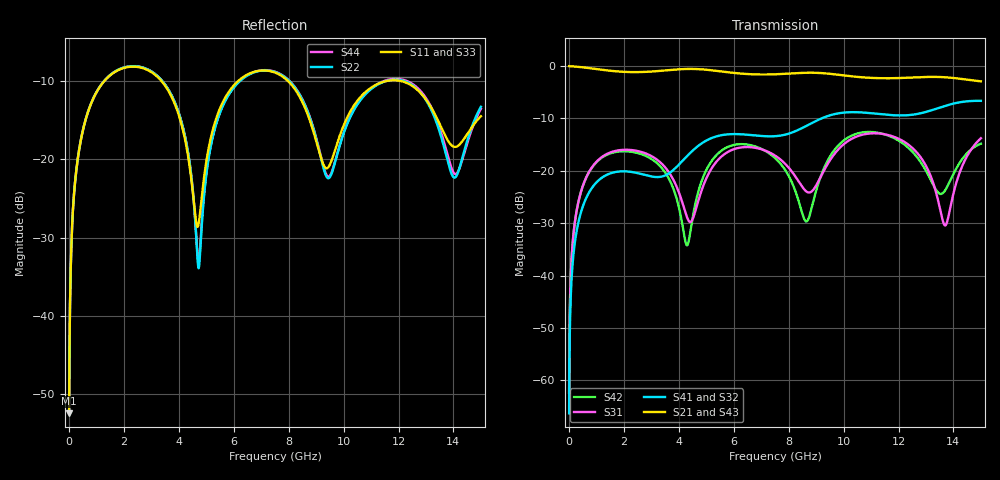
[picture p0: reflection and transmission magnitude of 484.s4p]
! Created with skrf 1.8.0 (http://scikit-rf.org).
# GHz S RI R 50.0
!freq ReS11 ImS11 ReS12 ImS12 ReS13 ImS13
! ReS14 ImS14
! ReS21 ImS21 ReS22 ImS22 ReS23 ImS23
! ReS24 ImS24
! ReS31 ImS31 ReS32 ImS32 ReS33 ImS33
! ReS34 ImS34
! ReS41 ImS41 ReS42 ImS42 ReS43 ImS43
! ReS44 ImS44
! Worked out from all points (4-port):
!   2499 points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, 5 MHz to 15 GHz, reference 50 ohm
!   strongest paths, dB at 5 MHz, 3.476 GHz, 7.19 GHz, 11.1 GHz, 15 GHz:
!     S21: 0.0, -0.8, -1.6, -2.3, -2.9
!     S43: 0.0, -0.8, -1.6, -2.3, -2.9
!     S41: -66.3, -20.9, -13.4, -9.0, -6.6
!     S32: -66.3, -21.0, -13.4, -9.1, -6.6
!     S31: -62.4, -19.2, -16.2, -12.8, -13.8
!     S42: -62.4, -20.1, -16.3, -12.6, -14.8
!   lowest |S11| = -52.4 dB at 5 MHz (marker M1), VSWR 1.00, Z = 50.2 + j0.145 ohm
!   |S11| at or under -10 dB: 3.373 GHz to 6.154 GHz (2.781 GHz wide, 58.4 % of centre); 7.981 GHz to 11.53 GHz (3.553 GHz wide, 36.4 % of centre); 12.11 GHz to end of sweep (the widest 3 of 4)
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0.005  0.00191 0.00145  0.9981 -0.00371  9.67e-05 0.000756  -9.38e-05 -0.000474
       0.9981 -0.00371  0.00191 0.00145  -9.38e-05 -0.000474  9.65e-05 0.000756
       9.67e-05 0.000756  -9.38e-05 -0.000474  0.00191 0.00145  0.9981 -0.00371
       -9.38e-05 -0.000474  9.65e-05 0.000756  0.9981 -0.00371  0.00191 0.00145
0.3126303  0.031 0.0939  0.9574 -0.2293  0.0149 0.0439  -0.0121 -0.027
           0.9574 -0.2293  0.0311 0.0939  -0.0121 -0.027  0.0141 0.0441
           0.0149 0.0439  -0.0121 -0.027  0.031 0.0939  0.9574 -0.2293
           -0.0121 -0.027  0.0141 0.0441  0.9574 -0.2293  0.0311 0.0939
1.369321  0.2777 0.1756  0.5306 -0.7394  0.1342 0.0532  -0.0913 -0.00319
          0.5306 -0.7394  0.2804 0.1738  -0.0912 -0.00325  0.1265 0.0641
          0.1342 0.0532  -0.0912 -0.00325  0.2777 0.1756  0.5306 -0.7394
          -0.0913 -0.00319  0.1265 0.0641  0.5306 -0.7394  0.2803 0.1738
4.551897  0.0393 -0.0347  -0.9246 -0.1622  -0.0295 0.0231  -0.0239 0.1582
          -0.9246 -0.1622  0.0235 -0.0467  -0.0251 0.1581  0.0219 0.0359
          -0.0295 0.0231  -0.0251 0.1581  0.0377 -0.0345  -0.9247 -0.1619
          -0.0239 0.1582  0.0219 0.0359  -0.9247 -0.1619  0.025 -0.0461
9.460192  0.0898 0.00718  0.8396 0.1043  -0.0163 0.1199  0.0307 -0.3344
          0.8396 0.1043  0.0758 -0.0047  0.0347 -0.3343  0.0115 0.1303
          -0.0163 0.1199  0.0347 -0.3343  0.0885 0.00711  0.8396 0.1042
          0.0307 -0.3344  0.0115 0.1303  0.8396 0.1042  0.0775 -0.00603
12.31138  0.2991 -0.0722  -0.0588 -0.7715  0.1223 -0.1343  -0.3274 0.0891
          -0.0588 -0.7715  0.3017 -0.0783  -0.3285 0.0839  0.1196 -0.121
          0.1223 -0.1343  -0.3285 0.0839  0.3055 -0.0706  -0.0586 -0.7696
          -0.3274 0.0891  0.1196 -0.121  -0.0586 -0.7696  0.3061 -0.0817
15  0.1819 0.0512  -0.6818 0.2154  0.1899 0.0766  0.1949 0.4228
    -0.6818 0.2154  0.1743 0.1296  0.1867 0.4259  0.1016 0.1504
    0.1899 0.0766  0.1867 0.4259  0.179 0.0469  -0.6832 0.2147
    0.1949 0.4228  0.1016 0.1504  -0.6832 0.2147  0.1738 0.1194
